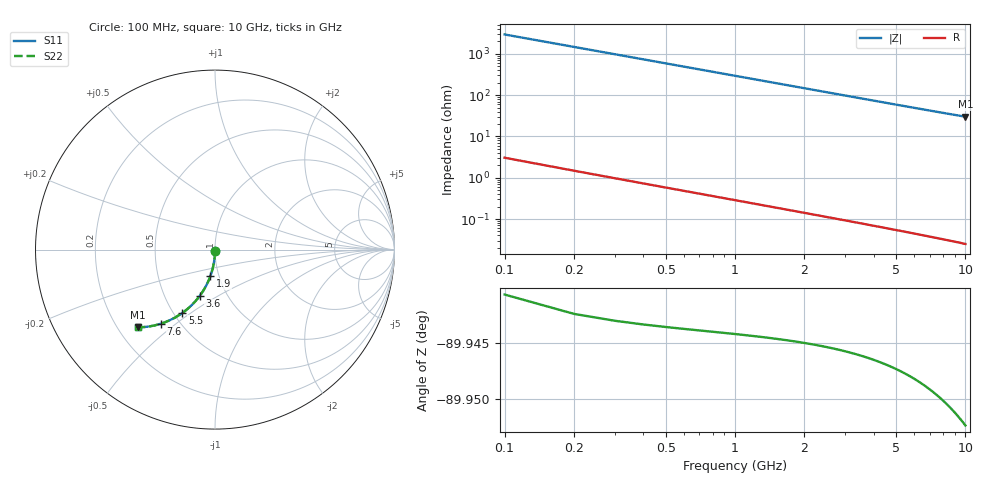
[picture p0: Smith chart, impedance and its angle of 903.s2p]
# Hz S RI R 50.00
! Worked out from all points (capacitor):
!   100 points, 100 MHz to 10 GHz, reference 50 ohm
!   read as one part in shunt: C = 541 fF near 100 MHz
!   lowest |Z| = 30 ohm at 10 GHz (marker M1)
!   S11 on the Smith chart (normalised r, x): 100 MHz: 1.00, -0.02; 1.9 GHz: 0.91, -0.27; 3.6 GHz: 0.74, -0.42; 5.5 GHz: 0.55, -0.46; 7.6 GHz: 0.40, -0.44; 10 GHz: 0.28, -0.39
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1e8  8.82e-05 -0.0079  0.9997 -0.0091  0.9997 -0.0091  8.82e-05 -0.0079
2e8  -0.000135 -0.0158  0.9995 -0.0182  0.9995 -0.0182  -0.000135 -0.0158
3e8  -0.000501 -0.0237  0.9992 -0.0273  0.9992 -0.0273  -0.000501 -0.0237
4e8  -0.00101 -0.0316  0.9986 -0.0364  0.9986 -0.0364  -0.00101 -0.0316
5e8  -0.00166 -0.0394  0.998 -0.0454  0.998 -0.0454  -0.00166 -0.0394
6e8  -0.00246 -0.0473  0.9972 -0.0545  0.9972 -0.0545  -0.00246 -0.0473
8e8  -0.00448 -0.0629  0.9951 -0.0725  0.9951 -0.0725  -0.00448 -0.0629
1.1e9  -0.00856 -0.0861  0.991 -0.0994  0.991 -0.0994  -0.00856 -0.0861
1.4e9  -0.0139 -0.109  0.9856 -0.1259  0.9856 -0.1259  -0.0139 -0.109
1.8e9  -0.0228 -0.1389  0.9766 -0.1606  0.9766 -0.1606  -0.0228 -0.1389
1.9e9  -0.0254 -0.1462  0.974 -0.1692  0.974 -0.1692  -0.0254 -0.1462
2.2e9  -0.0338 -0.1678  0.9655 -0.1944  0.9655 -0.1944  -0.0338 -0.1678
2.6e9  -0.0467 -0.1957  0.9525 -0.2271  0.9525 -0.2271  -0.0467 -0.1957
3.4e9  -0.0776 -0.2473  0.9212 -0.2885  0.9212 -0.2885  -0.0776 -0.2473
3.6e9  -0.0862 -0.2593  0.9125 -0.303  0.9125 -0.303  -0.0862 -0.2593
4.3e9  -0.119 -0.2982  0.8792 -0.3504  0.8792 -0.3504  -0.119 -0.2982
5.1e9  -0.1603 -0.3364  0.8374 -0.3985  0.8374 -0.3985  -0.1603 -0.3364
5.5e9  -0.182 -0.3529  0.8153 -0.42  0.8153 -0.42  -0.182 -0.3529
6.7e9  -0.2496 -0.3924  0.7466 -0.4744  0.7466 -0.4744  -0.2496 -0.3924
7.6e9  -0.301 -0.4125  0.6943 -0.5059  0.6943 -0.5059  -0.301 -0.4125
8.4e9  -0.3459 -0.4243  0.6483 -0.5279  0.6483 -0.5279  -0.3459 -0.4243
1e10  -0.431 -0.4331  0.5608 -0.5574  0.5608 -0.5574  -0.431 -0.4331
